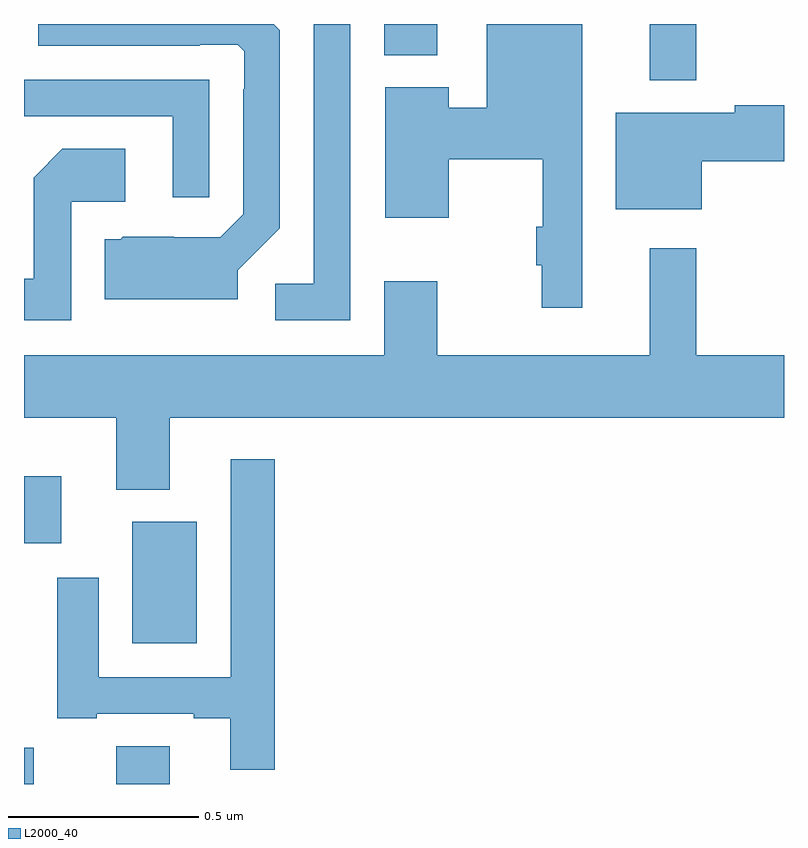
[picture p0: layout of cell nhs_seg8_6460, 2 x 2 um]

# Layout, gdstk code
import gdstk
lib = gdstk.Library(unit=1e-6, precision=1e-09)
def R(c, l, rs):  # rectangles x0, y0, x1, y1
    for r in rs: c.add(gdstk.rectangle(r[:2], r[2:], *l))
def P(c, l, *ps):  # polygons
    for p in ps: c.add(gdstk.Polygon(p, *l))
L2000_40 = (2000, 40)

nhs_seg8_6460 = lib.new_cell('nhs_seg8_6460')
R(nhs_seg8_6460, L2000_40, [(197,1084.9,197.026,1084.995), (197.243,1084.9,197.383,1085), (197.285,1085.27,197.455,1085.59), (197,1085.534,197.098,1085.71), (198.647,1086.752,198.769,1086.9), (197.948,1086.818,198.088,1086.9)])
P(nhs_seg8_6460, L2000_40, [(198.469,1086.9),(198.218,1086.9),(198.218,1086.68),(198.118,1086.68),(198.118,1086.733),(197.951,1086.733),(197.951,1086.39),(198.118,1086.39),(198.118,1086.544),(198.365,1086.544),(198.365,1086.366),(198.348,1086.366),(198.348,1086.265),(198.363,1086.265),(198.363,1086.153),(198.469,1086.153)],
  [(197.859,1086.9),(197.763,1086.9),(197.763,1086.216),(197.661,1086.216),(197.661,1086.12),(197.859,1086.12)],
  [(197.563,1086.252),(197.673,1086.362),(197.673,1086.884),(197.657,1086.9),(197.038,1086.9),(197.038,1086.843),(197.462,1086.843),(197.462,1086.846),(197.562,1086.846),(197.58,1086.828),(197.58,1086.728),(197.577,1086.728),(197.577,1086.399),(197.517,1086.339),(197.394,1086.339),(197.394,1086.34),(197.26,1086.34),(197.254,1086.334),(197.213,1086.334),(197.213,1086.176),(197.563,1086.176)],
  [(197.487,1086.753),(197,1086.753),(197,1086.657),(197.391,1086.657),(197.391,1086.444),(197.487,1086.444)],
  [(198.784,1086.539),(199,1086.539),(199,1086.686),(198.87,1086.686),(198.87,1086.667),(198.557,1086.667),(198.557,1086.413),(198.784,1086.413)],
  [(197.124,1086.432),(197.266,1086.432),(197.266,1086.572),(197.101,1086.572),(197.025,1086.496),(197.025,1086.229),(197,1086.229),(197,1086.12),(197.124,1086.12)],
  [(197.383,1085.864),(199,1085.864),(199,1086.028),(198.769,1086.028),(198.769,1086.31),(198.647,1086.31),(198.647,1086.028),(198.088,1086.028),(198.088,1086.223),(197.948,1086.223),(197.948,1086.028),(197,1086.028),(197,1085.864),(197.243,1085.864),(197.243,1085.675),(197.383,1085.675)],
  [(197.66,1085.755),(197.544,1085.755),(197.544,1085.181),(197.197,1085.181),(197.197,1085.443),(197.087,1085.443),(197.087,1085.073),(197.191,1085.073),(197.191,1085.085),(197.447,1085.085),(197.447,1085.073),(197.543,1085.073),(197.543,1084.938),(197.66,1084.938)])

lib.write_gds('nhs_seg8_6460.gds')
